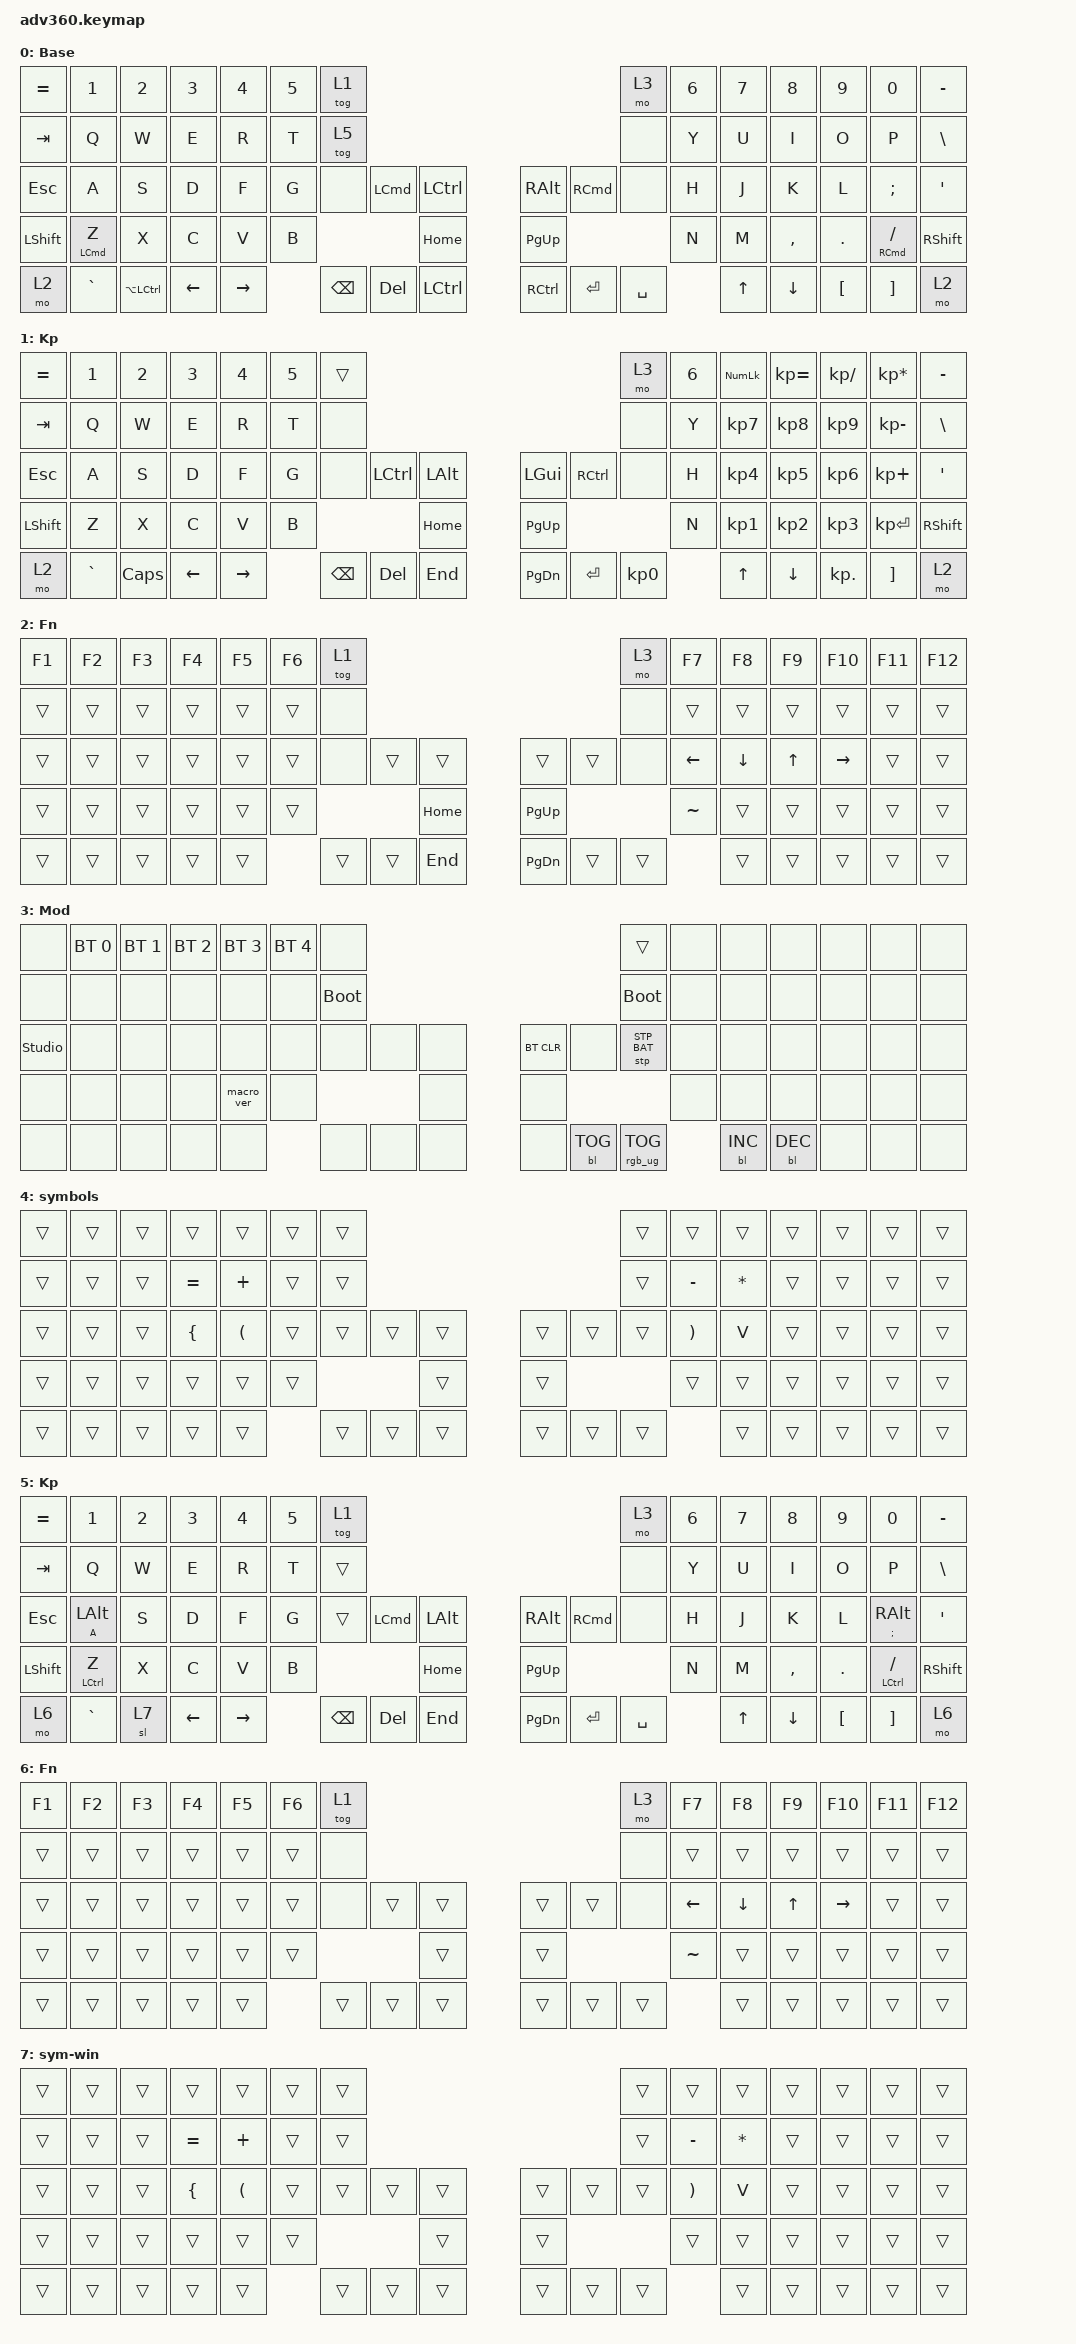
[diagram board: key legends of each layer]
#include <dt-bindings/zmk/stp.h>
#include <behaviors.dtsi>
#include <dt-bindings/zmk/backlight.h>
#include <dt-bindings/zmk/bt.h>
#include <dt-bindings/zmk/keys.h>
#include <dt-bindings/zmk/rgb.h>

/ {
    behaviors {
        #include "macros.dtsi"
      #include "version.dtsi"

        hm: homerow_mods {
            compatible = "zmk,behavior-hold-tap";
            label = "HOMEROW_MODS";
            #binding-cells = <2>;
            tapping-term-ms = <200>;
            quick_tap_ms = <175>;
            flavor = "tap-preferred";
            bindings = <&kp>, <&kp>;
        };
    };

    keymap {
        compatible = "zmk,keymap";

        mac {
            display-name = "Base";
            bindings = <
&kp EQUAL  &kp N1      &kp N2                &kp N3    &kp N4     &kp N5  &tog 1                                                                                  &mo 3      &kp N6  &kp N7  &kp N8     &kp N9    &kp N0                   &kp MINUS
&kp TAB    &kp Q       &kp W                 &kp E     &kp R      &kp T   &tog 5                                                                                  &none      &kp Y   &kp U   &kp I      &kp O     &kp P                    &kp BSLH
&kp ESC    &kp A       &kp S                 &kp D     &kp F      &kp G   &none     &kp LEFT_COMMAND  &kp LEFT_CONTROL      &kp RIGHT_ALT      &kp RIGHT_COMMAND  &none      &kp H   &kp J   &kp K      &kp L     &kp SEMI                 &kp SQT
&kp LSHFT  &hm LCMD Z  &kp X                 &kp C     &kp V      &kp B                               &kp HOME              &kp PG_UP                                        &kp N   &kp M   &kp COMMA  &kp DOT   &hm RIGHT_COMMAND SLASH  &kp RSHFT
&mo 2      &kp GRAVE   &kp LA(LEFT_CONTROL)  &kp LEFT  &kp RIGHT          &kp BSPC  &kp DEL           &kp LEFT_CONTROL      &kp RIGHT_CONTROL  &kp ENTER          &kp SPACE          &kp UP  &kp DOWN   &kp LBKT  &kp RBKT                 &mo 2
            >;
        };

        keypad {
            display-name = "Kp";
            bindings = <
&kp EQUAL  &kp N1     &kp N2    &kp N3    &kp N4     &kp N5  &trans                                                   &mo 3      &kp N6  &kp KP_NUM  &kp KP_EQUAL  &kp KP_DIVIDE  &kp KP_MULTIPLY  &kp MINUS
&kp TAB    &kp Q      &kp W     &kp E     &kp R      &kp T   &none                                                    &none      &kp Y   &kp KP_N7   &kp KP_N8     &kp KP_N9      &kp KP_MINUS     &kp BSLH
&kp ESC    &kp A      &kp S     &kp D     &kp F      &kp G   &none     &kp LCTRL  &kp LALT      &kp LGUI   &kp RCTRL  &none      &kp H   &kp KP_N4   &kp KP_N5     &kp KP_N6      &kp KP_PLUS      &kp SQT
&kp LSHFT  &kp Z      &kp X     &kp C     &kp V      &kp B                        &kp HOME      &kp PG_UP                        &kp N   &kp KP_N1   &kp KP_N2     &kp KP_N3      &kp KP_ENTER     &kp RSHFT
&mo 2      &kp GRAVE  &kp CAPS  &kp LEFT  &kp RIGHT          &kp BSPC  &kp DEL    &kp END       &kp PG_DN  &kp ENTER  &kp KP_N0          &kp UP      &kp DOWN      &kp KP_DOT     &kp RBKT         &mo 2
            >;
        };

        fn {
            display-name = "Fn";
            bindings = <
&kp F1  &kp F2  &kp F3  &kp F4  &kp F5  &kp F6  &tog 1                                               &mo 3   &kp F7          &kp F8    &kp F9        &kp F10    &kp F11  &kp F12
&trans  &trans  &trans  &trans  &trans  &trans  &none                                                &none   &trans          &trans    &trans        &trans     &trans   &trans
&trans  &trans  &trans  &trans  &trans  &trans  &none   &trans  &trans        &trans         &trans  &none   &kp LEFT_ARROW  &kp DOWN  &kp UP_ARROW  &kp RIGHT  &trans   &trans
&trans  &trans  &trans  &trans  &trans  &trans                  &kp HOME      &kp PAGE_UP                    &kp TILDE       &trans    &trans        &trans     &trans   &trans
&trans  &trans  &trans  &trans  &trans          &trans  &trans  &kp END       &kp PAGE_DOWN  &trans  &trans                  &trans    &trans        &trans     &trans   &trans
            >;
        };

        mod {
            display-name = "Mod";
            bindings = <
&none           &bt BT_SEL 0  &bt BT_SEL 1  &bt BT_SEL 2  &bt BT_SEL 3  &bt BT_SEL 4  &none                                                  &trans           &none  &none       &none       &none  &none  &none
&none           &none         &none         &none         &none         &none         &bootloader                                            &bootloader      &none  &none       &none       &none  &none  &none
&studio_unlock  &none         &none         &none         &none         &none         &none        &none  &none      &bt BT_CLR  &none       &stp STP_BAT     &none  &none       &none       &none  &none  &none
&none           &none         &none         &none         &macro_ver    &none                             &none      &none                                    &none  &none       &none       &none  &none  &none
&none           &none         &none         &none         &none                       &none        &none  &none      &none       &bl BL_TOG  &rgb_ug RGB_TOG         &bl BL_INC  &bl BL_DEC  &none  &none  &none
            >;
        };

        symbols {
            bindings = <
&trans  &trans  &trans  &trans          &trans                &trans  &trans                                      &trans  &trans                 &trans        &trans  &trans  &trans  &trans
&trans  &trans  &trans  &kp EQUAL       &kp PLUS              &trans  &trans                                      &trans  &kp MINUS              &kp ASTERISK  &trans  &trans  &trans  &trans
&trans  &trans  &trans  &kp LEFT_BRACE  &kp LEFT_PARENTHESIS  &trans  &trans  &trans  &trans      &trans  &trans  &trans  &kp RIGHT_PARENTHESIS  &kp V         &trans  &trans  &trans  &trans
&trans  &trans  &trans  &trans          &trans                &trans                  &trans      &trans                  &trans                 &trans        &trans  &trans  &trans  &trans
&trans  &trans  &trans  &trans          &trans                        &trans  &trans  &trans      &trans  &trans  &trans                         &trans        &trans  &trans  &trans  &trans
            >;
        };

        win {
            display-name = "Kp";
            bindings = <
&kp EQUAL  &kp N1              &kp N2  &kp N3    &kp N4     &kp N5  &tog 1                                                                          &mo 3      &kp N6  &kp N7  &kp N8     &kp N9    &kp N0                  &kp MINUS
&kp TAB    &kp Q               &kp W   &kp E     &kp R      &kp T   &trans                                                                          &none      &kp Y   &kp U   &kp I      &kp O     &kp P                   &kp BSLH
&kp ESC    &hm A LEFT_ALT      &kp S   &kp D     &kp F      &kp G   &trans    &kp LEFT_COMMAND  &kp LEFT_ALT      &kp RIGHT_ALT  &kp RIGHT_COMMAND  &none      &kp H   &kp J   &kp K      &kp L     &hm SEMI RIGHT_ALT      &kp SQT
&kp LSHFT  &hm LEFT_CONTROL Z  &kp X   &kp C     &kp V      &kp B                               &kp HOME          &kp PG_UP                                    &kp N   &kp M   &kp COMMA  &kp DOT   &hm LEFT_CONTROL SLASH  &kp RSHFT
&mo 6      &kp GRAVE           &sl 7   &kp LEFT  &kp RIGHT          &kp BSPC  &kp DEL           &kp END           &kp PG_DN      &kp ENTER          &kp SPACE          &kp UP  &kp DOWN   &kp LBKT  &kp RBKT                &mo 6
            >;
        };

        fn-win {
            display-name = "Fn";
            bindings = <
&kp F1  &kp F2  &kp F3  &kp F4  &kp F5  &kp F6  &tog 1                                      &mo 3   &kp F7          &kp F8    &kp F9        &kp F10    &kp F11  &kp F12
&trans  &trans  &trans  &trans  &trans  &trans  &none                                       &none   &trans          &trans    &trans        &trans     &trans   &trans
&trans  &trans  &trans  &trans  &trans  &trans  &none   &trans  &trans      &trans  &trans  &none   &kp LEFT_ARROW  &kp DOWN  &kp UP_ARROW  &kp RIGHT  &trans   &trans
&trans  &trans  &trans  &trans  &trans  &trans                  &trans      &trans                  &kp TILDE       &trans    &trans        &trans     &trans   &trans
&trans  &trans  &trans  &trans  &trans          &trans  &trans  &trans      &trans  &trans  &trans                  &trans    &trans        &trans     &trans   &trans
            >;
        };

        sym-win {
            bindings = <
&trans  &trans  &trans  &trans          &trans                &trans  &trans                                      &trans  &trans                 &trans        &trans  &trans  &trans  &trans
&trans  &trans  &trans  &kp EQUAL       &kp PLUS              &trans  &trans                                      &trans  &kp MINUS              &kp ASTERISK  &trans  &trans  &trans  &trans
&trans  &trans  &trans  &kp LEFT_BRACE  &kp LEFT_PARENTHESIS  &trans  &trans  &trans  &trans      &trans  &trans  &trans  &kp RIGHT_PARENTHESIS  &kp V         &trans  &trans  &trans  &trans
&trans  &trans  &trans  &trans          &trans                &trans                  &trans      &trans                  &trans                 &trans        &trans  &trans  &trans  &trans
&trans  &trans  &trans  &trans          &trans                        &trans  &trans  &trans      &trans  &trans  &trans                         &trans        &trans  &trans  &trans  &trans
            >;
        };
    };
};
